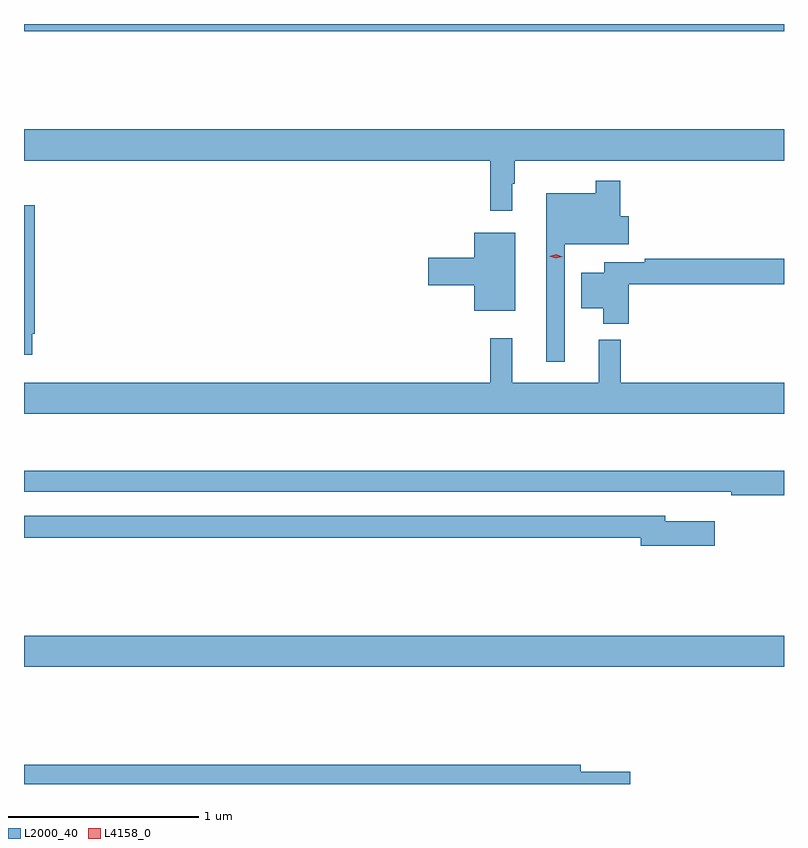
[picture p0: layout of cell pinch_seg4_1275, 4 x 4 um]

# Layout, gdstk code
import gdstk
lib = gdstk.Library(unit=1e-6, precision=1e-09)
def R(c, l, rs):  # rectangles x0, y0, x1, y1
    for r in rs: c.add(gdstk.rectangle(r[:2], r[2:], *l))
def P(c, l, *ps):  # polygons
    for p in ps: c.add(gdstk.Polygon(p, *l))
L2000_40 = (2000, 40)
L4158_0 = (4158, 0)

pinch_seg4_1275 = lib.new_cell('pinch_seg4_1275')
R(pinch_seg4_1275, L2000_40, [(335.036,762.188,339.036,762.352), (335.036,765.532,339.036,765.571)])
P(pinch_seg4_1275, L2000_40, [(337.606,764.729),(337.618,764.729),(337.618,764.852),(339.036,764.852),(339.036,765.016),(335.036,765.016),(335.036,764.852),(337.489,764.852),(337.489,764.589),(337.606,764.589)],
  [(337.881,764.411),(338.218,764.411),(338.218,764.559),(338.174,764.559),(338.174,764.746),(338.046,764.746),(338.046,764.68),(337.784,764.68),(337.784,763.794),(337.881,763.794)],
  [(335.08,763.942),(335.093,763.942),(335.093,764.617),(335.036,764.617),(335.036,763.83),(335.08,763.83)],
  [(337.621,764.473),(337.406,764.473),(337.406,764.342),(337.164,764.342),(337.164,764.195),(337.406,764.195),(337.406,764.063),(337.621,764.063)],
  [(338.219,764.2),(339.036,764.2),(339.036,764.336),(338.302,764.336),(338.302,764.316),(338.09,764.316),(338.09,764.263),(337.97,764.263),(337.97,764.075),(338.084,764.075),(338.084,763.994),(338.219,763.994)],
  [(339.036,763.684),(338.177,763.684),(338.177,763.909),(338.06,763.909),(338.06,763.684),(337.607,763.684),(337.607,763.918),(337.489,763.918),(337.489,763.684),(335.036,763.684),(335.036,763.52),(339.036,763.52)],
  [(339.036,763.219),(335.036,763.219),(335.036,763.11),(338.506,763.11),(338.506,763.109),(338.758,763.109),(338.758,763.09),(339.036,763.09)],
  [(338.671,762.955),(338.41,762.955),(338.41,762.984),(335.036,762.984),(335.036,762.868),(338.282,762.868),(338.282,762.826),(338.671,762.826)],
  [(338.227,761.636),(337.966,761.636),(337.966,761.672),(335.036,761.672),(335.036,761.571),(338.227,761.571)])
P(pinch_seg4_1275, L4158_0, [(337.835,764.338),(337.8,764.349),(337.8,764.349),(337.8,764.349),(337.836,764.358),(337.87,764.346),(337.871,764.346),(337.87,764.346)])

lib.write_gds('pinch_seg4_1275.gds')
